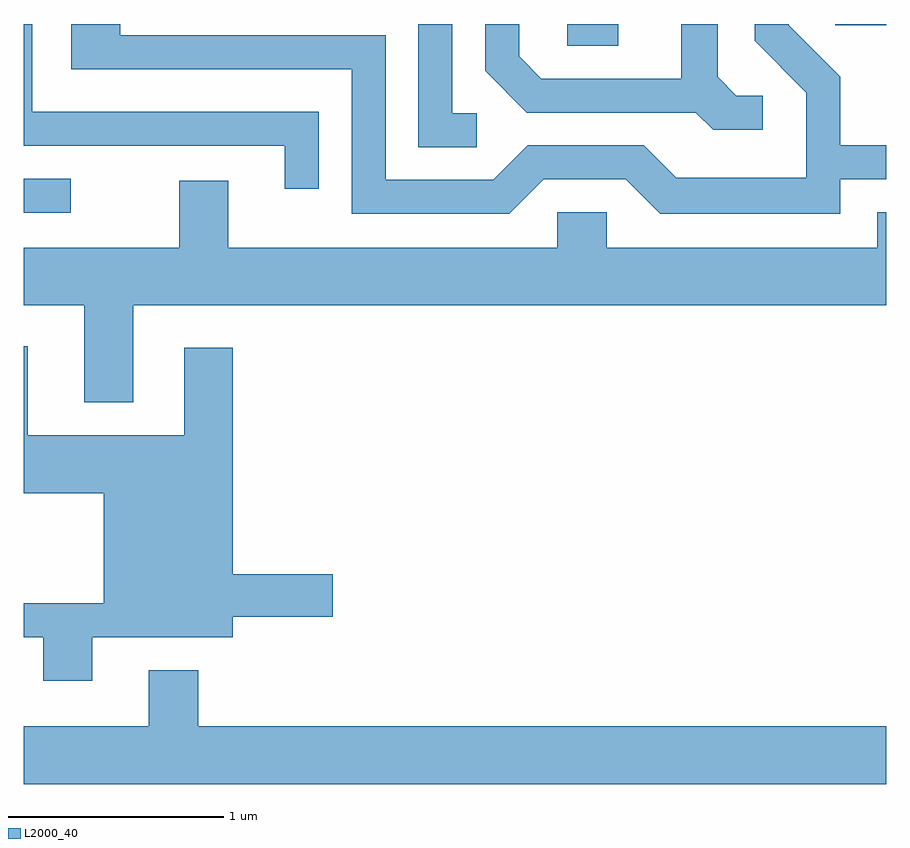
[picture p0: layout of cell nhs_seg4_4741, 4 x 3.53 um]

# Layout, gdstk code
import gdstk
lib = gdstk.Library(unit=1e-6, precision=1e-09)
def R(c, l, rs):  # rectangles x0, y0, x1, y1
    for r in rs: c.add(gdstk.rectangle(r[:2], r[2:], *l))
def P(c, l, *ps):  # polygons
    for p in ps: c.add(gdstk.Polygon(p, *l))
L2000_40 = (2000, 40)

nhs_seg4_4741 = lib.new_cell('nhs_seg4_4741')
R(nhs_seg4_4741, L2000_40, [(323.611,1355.106,323.828,1355.264), (326.131,1355.881,326.369,1355.982), (327.376,1355.976,327.611,1355.982)])
P(nhs_seg4_4741, L2000_40, [(324.979,1355.574),(323.649,1355.574),(323.649,1355.982),(323.611,1355.982),(323.611,1355.416),(324.821,1355.416),(324.821,1355.218),(324.979,1355.218)],
  [(326.022,1355.261),(326.404,1355.261),(326.564,1355.101),(327.399,1355.101),(327.399,1355.261),(327.611,1355.261),(327.611,1355.419),(327.399,1355.419),(327.399,1355.737),(327.159,1355.977),(327.159,1355.982),(327.001,1355.982),(327.001,1355.904),(327.241,1355.664),(327.241,1355.269),(326.637,1355.269),(326.487,1355.419),(325.949,1355.419),(325.789,1355.259),(325.289,1355.259),(325.289,1355.929),(324.059,1355.929),(324.059,1355.982),(323.831,1355.982),(323.831,1355.771),(325.131,1355.771),(325.131,1355.101),(325.862,1355.101)],
  [(325.713,1355.569),(325.599,1355.569),(325.599,1355.982),(325.441,1355.982),(325.441,1355.411),(325.713,1355.411)],
  [(327.038,1355.649),(326.917,1355.649),(326.829,1355.737),(326.829,1355.982),(326.661,1355.982),(326.661,1355.729),(326.012,1355.729),(325.909,1355.832),(325.909,1355.982),(325.751,1355.982),(325.751,1355.764),(325.944,1355.571),(326.729,1355.571),(326.809,1355.491),(327.038,1355.491)],
  [(324.119,1354.676),(327.611,1354.676),(327.611,1355.109),(327.571,1355.109),(327.571,1354.944),(326.314,1354.944),(326.314,1355.109),(326.086,1355.109),(326.086,1354.944),(324.559,1354.944),(324.559,1355.254),(324.331,1355.254),(324.331,1354.944),(323.611,1354.944),(323.611,1354.676),(323.891,1354.676),(323.891,1354.226),(324.119,1354.226)],
  [(323.929,1353.136),(324.579,1353.136),(324.579,1353.231),(325.044,1353.231),(325.044,1353.429),(324.579,1353.429),(324.579,1354.479),(324.356,1354.479),(324.356,1354.074),(323.629,1354.074),(323.629,1354.488),(323.611,1354.488),(323.611,1353.806),(323.981,1353.806),(323.981,1353.294),(323.611,1353.294),(323.611,1353.136),(323.701,1353.136),(323.701,1352.936),(323.929,1352.936)],
  [(327.611,1352.724),(324.419,1352.724),(324.419,1352.984),(324.191,1352.984),(324.191,1352.724),(323.611,1352.724),(323.611,1352.456),(327.611,1352.456)])

lib.write_gds('nhs_seg4_4741.gds')
